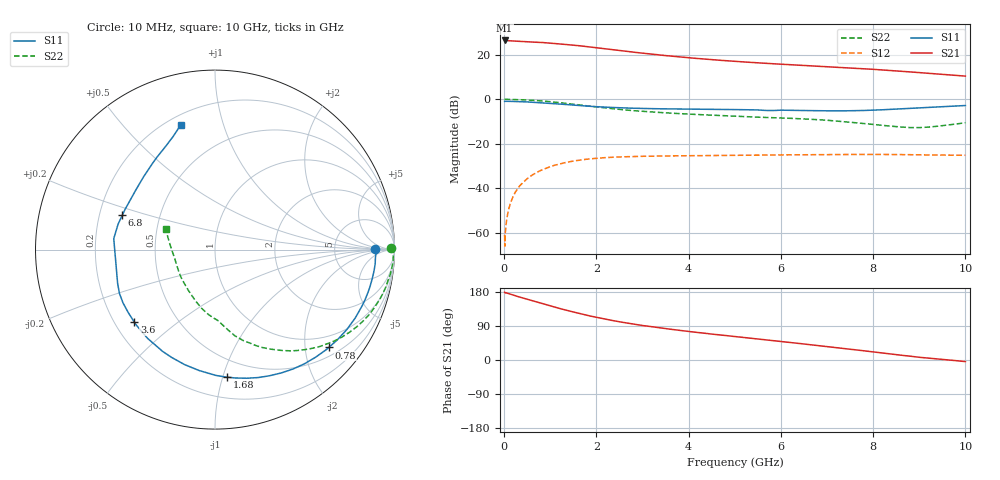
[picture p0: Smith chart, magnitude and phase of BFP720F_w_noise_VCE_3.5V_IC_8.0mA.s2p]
! Infineon Technologies  Discrete & RF Semiconductors
! BFP720F
! VCE =  3.5 V,  IC =  8.0 mA
! Common Emitter S-Parameters:  Jan 2016
# GHz  S  MA  R  50
!  f  S11  S21  S12  S22
! GHz  MAG  ANG  MAG  ANG  MAG  ANG  MAG  ANG
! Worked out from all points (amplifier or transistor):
!   233 points, 10 MHz to 10 GHz, reference 50 ohm
!   highest |S21| = 26.4 dB at 10 MHz (marker M1)
!   |S21| within 3 dB of that: start of sweep to 1.889 GHz
!   unconditionally stable (mu >= 1): 13.75 MHz to 15.39 MHz; 7.061 GHz to end of sweep
!   at 200 MHz: K = 0.07, MSG = 34.8 dB, |S12| = -43.5 dB
!   at 1.74 GHz: K = 0.27, MSG = 25.4 dB, |S12| = -27.1 dB
!   at 10 GHz: K = 1.28, MAG = 14.6 dB, |S12| = -25.2 dB
!   lowest NFmin = 0.50 dB at 450 MHz
!   S11 on the Smith chart (normalised r, x): 10 MHz: 18, +1; 780 MHz: 0.70, -2.53; 1.68 GHz: 0.36, -1.03; 3.6 GHz: 0.28, -0.36; 6.8 GHz: 0.30, +0.16; 10 GHz: 0.25, +0.73
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0.01  0.8922 0.3  20.88 178.9  0.0009 -40.4  0.9821 0.6
0.015  0.8951 -0.3  20.71 178.0  0.0005 11.7  0.9888 -0.3
0.02  0.8981 -0.9  20.56 177.0  0.0008 74.2  0.9957 -1.2
0.05  0.895 -2.6  20.69 177.1  0.0018 74.1  0.9939 -1.6
0.26  0.8877 -13.6  20.15 168.7  0.0087 80.5  0.9847 -8.5
0.45  0.8729 -23.5  19.64 161.8  0.0148 75.5  0.9667 -14.7
0.78  0.8362 -40.7  18.9 150.2  0.0247 65.8  0.9197 -25.1
0.96  0.8125 -49.9  18.32 144.0  0.0296 60.7  0.8862 -30.5
1.2  0.7803 -61.7  17.45 136.1  0.0352 54.2  0.8377 -37.4
1.4  0.7526 -71.3  16.69 129.7  0.0391 49.2  0.795 -42.8
1.68  0.7138 -84.6  15.67 121.2  0.0434 42.7  0.7338 -49.8
2.02  0.6773 -98.2  14.25 112.0  0.0474 35.9  0.6673 -57.2
2.48  0.6437 -113.6  12.47 101.3  0.0503 28.4  0.594 -65.5
2.92  0.6231 -125.2  11.05 92.5  0.0519 23.2  0.5418 -71.3
3.4  0.6088 -134.7  9.783 84.5  0.053 18.8  0.5016 -75.9
3.6  0.6046 -138.1  9.332 81.3  0.0533 17.2  0.4873 -77.5
4.1  0.5957 -145.2  8.363 73.9  0.0539 14.1  0.4572 -80.5
5.1  0.5831 -156.4  6.975 60.7  0.055 9.3  0.4115 -85.5
6.8  0.5509 159.7  5.505 38.1  0.0569 2.9  0.3461 -99.9
8.4  0.593 126.0  4.406 15.6  0.0573 -3.2  0.2473 -138.3
9  0.6387 115.3  3.957 7.2  0.0562 -4.8  0.2301 -167.7
10  0.7213 105.4  3.302 -4.2  0.055 -6.3  0.2965 157.7
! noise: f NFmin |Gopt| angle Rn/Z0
0.45  0.5  0.36  4  0.12
0.9  0.52  0.34  9  0.16
1.8  0.57  0.32  16  0.15
2.4  0.6  0.29  26  0.14
5.5  0.76  0.28  53  0.08
10  0.98  0.26  -98  0.16
